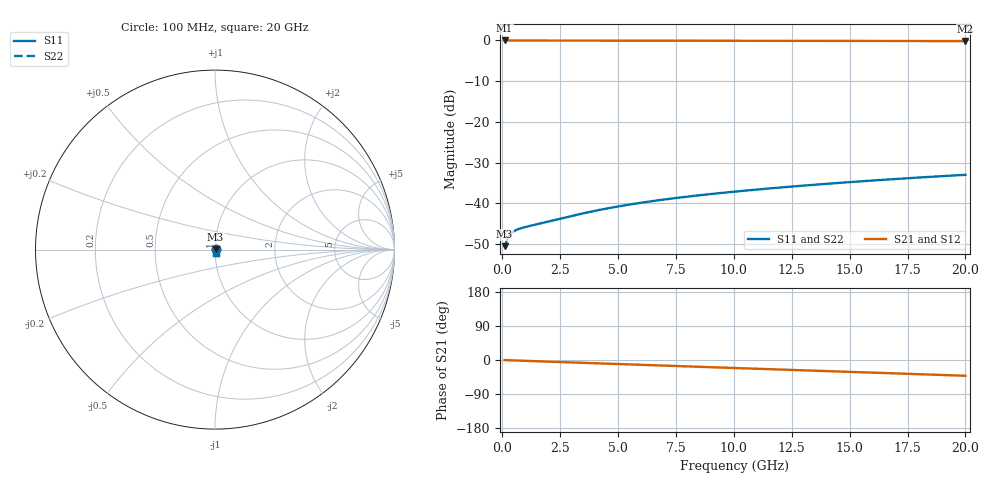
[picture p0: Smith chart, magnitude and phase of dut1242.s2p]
! Touchstone file exported from HFSS 2026.1.0
!  File:  C:/ffzhzh/LocalFiles/Ansys_Project_Files/temp_train_TMRDL_1242_1783163684_51560.aedt
!  Generated:  07:15:46 PM Jul  4, 2026
!  Design:  TMRDL
!  Project:  temp_train_TMRDL_1242_1783163684_51560
! Variables:
!  h_bsmrdl = 2um
!  h_ox = 20um
!  h_rdl = 5um
!  h_sub = 80um
!  h_tmrdl = 4.18um
!  h_tsv = 80um
!  h_via = 3um
!  l_bsmrdl = 300um
!  l_sub = 1142.02um
!  l_tmrdl = 742.02um
!  m_sub = 200um
!  pitch = 29.23um
!  r_tsv = 6um
!  s_tmrdl = 10um
!  w_bsmrdl = 18um
!  w_sub = 500um
!  w_tmrdl = 24.52um
!  x_tsv_center1 = 754.28um
!  x_tsv_center2 = 1072.28um
!  x_tsv_center3 = 1838.82um
!  x_tsv_center4 = 2156.82um
!  x_tsv_center5 = 2923.36um
!  x_tsv_center6 = 3241.36um
# GHz S MA R 50.000000
! Terminal data exported
! Port[1] = TM_RDL1_1_T1
! Port[2] = TM_RDL1_1_T2
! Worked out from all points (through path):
!   200 points, 100 MHz to 20 GHz, reference 50 ohm
!   highest |S21| = -0.03 dB at 100 MHz (marker M1); lowest = -0.2 dB at 20 GHz (marker M2)
!   group delay of S21, straight-line fit = 5.75 ps
!   lowest |S11| = -50.5 dB at 100 MHz (marker M3), VSWR 1.01, Z = 50.3 + j0.0721 ohm
!   |S11| at or under -10 dB: start of sweep to end of sweep
!   |S22| runs from -50.5 to -33.0 dB; largest |S21 - S12| = 2.7e-15
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0.1  0.002978 13.9  0.9971 -0.3  0.9971 -0.3  0.002978 13.9
! Gamma 0 0 0 0
! Port Impedance 50 0 50 0
0.2  0.003533 19.0  0.9967 -0.5  0.9967 -0.5  0.003533 19.0
0.3  0.003997 19.2  0.9962 -0.7  0.9962 -0.7  0.003998 19.2
0.4  0.004321 18.2  0.9959 -0.9  0.9959 -0.9  0.004322 18.2
0.5  0.004545 17.1  0.9957 -1.1  0.9957 -1.1  0.004547 17.1
0.6  0.004708 16.2  0.9955 -1.4  0.9955 -1.4  0.00471 16.2
0.8  0.004941 15.0  0.9953 -1.8  0.9953 -1.8  0.004943 15.1
1  0.005122 14.5  0.9951 -2.2  0.9951 -2.2  0.005124 14.5
2.8  0.006798 12.1  0.9935 -6.1  0.9935 -6.1  0.006799 12.1
3.5  0.007546 9.4  0.9928 -7.5  0.9928 -7.5  0.007548 9.4
4.3  0.008409 5.4  0.9918 -9.2  0.9918 -9.2  0.008411 5.4
5.1  0.009254 0.8  0.9909 -10.9  0.9909 -10.9  0.009257 0.8
5.9  0.01007 -4.2  0.99 -12.6  0.99 -12.6  0.01008 -4.1
6.8  0.01095 -9.8  0.989 -14.4  0.989 -14.4  0.01096 -9.7
8.3  0.01236 -19.1  0.9874 -17.6  0.9874 -17.6  0.01237 -19.0
10.1  0.01397 -29.5  0.9858 -21.3  0.9858 -21.3  0.01398 -29.4
11.7  0.01537 -38.1  0.9845 -24.6  0.9845 -24.6  0.01538 -38.0
13.4  0.01683 -46.6  0.9833 -28.1  0.9833 -28.1  0.01685 -46.4
15  0.0182 -54.0  0.9822 -31.3  0.9822 -31.3  0.01823 -53.8
16.7  0.01964 -61.3  0.9811 -34.8  0.9811 -34.8  0.01967 -61.1
18.3  0.02098 -67.8  0.9801 -38.1  0.9801 -38.1  0.02101 -67.5
20  0.02237 -74.3  0.9791 -41.6  0.9791 -41.6  0.0224 -74.0
